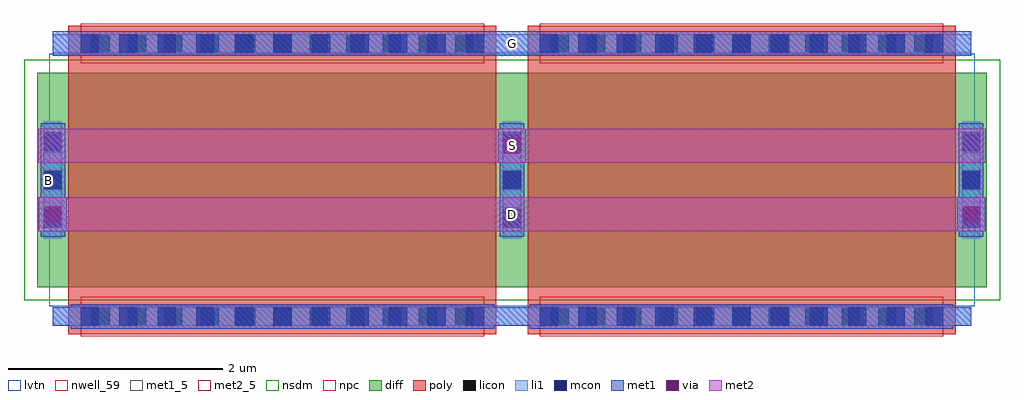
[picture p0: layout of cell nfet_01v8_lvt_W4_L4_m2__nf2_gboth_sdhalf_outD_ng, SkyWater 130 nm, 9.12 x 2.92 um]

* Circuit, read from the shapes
.subckt nfet_01v8_lvt_W4_L4_m2__nf2_gboth_sdhalf_outD_ng B D G S
XM1 S G D B sky130_fd_pr__nfet_01v8_lvt w=2 l=4 m=2
.ends

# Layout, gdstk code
import gdstk
lib = gdstk.Library(unit=1e-6, precision=1e-09)
def R(c, l, rs):  # rectangles x0, y0, x1, y1
    for r in rs: c.add(gdstk.rectangle(r[:2], r[2:], *l))
def A(c, l, x, y, w, h, nx, ny, dx, dy):  # array of equal rectangles
    R(c, l, [(x+i*dx, y+j*dy, x+i*dx+w, y+j*dy+h) for i in range(nx) for j in range(ny)])
nwell_59 = (64, 59)
diff = (65, 20)
poly = (66, 20)
licon = (66, 44)
li1 = (67, 20)
mcon = (67, 44)
met1_5 = (68, 5)
met1 = (68, 20)
via = (68, 44)
met2_5 = (69, 5)
met2 = (69, 20)
nsdm = (93, 44)
npc = (95, 20)
lvtn = (125, 44)

sky130_fd_pr__nfet_01v8_ = lib.new_cell('sky130_fd_pr__nfet_01v8_lvt_A4AKJU')
R(sky130_fd_pr__nfet_01v8_, diff, [(-4.435,-1,4.435,1)])
R(sky130_fd_pr__nfet_01v8_, poly, [(-4.145,-1.44,-0.145,1.44), (0.145,-1.44,4.145,1.44)])
A(sky130_fd_pr__nfet_01v8_, licon, -3.93, -1.36, 0.17, 0.17, 11, 2, 0.34, 2.55)
A(sky130_fd_pr__nfet_01v8_, licon, 0.36, -1.36, 0.17, 0.17, 11, 2, 0.34, 2.55)
A(sky130_fd_pr__nfet_01v8_, licon, -4.375, -0.425, 0.17, 0.17, 3, 3, 4.29, 0.34)
A(sky130_fd_pr__nfet_01v8_, li1, -4.375, -0.55, 0.17, 1.1, 3, 1, 4.29, 0)
R(sky130_fd_pr__nfet_01v8_, li1, [(-4.29,-1.36,4.29,-1.19), (-4.29,1.19,4.29,1.36)])
A(sky130_fd_pr__nfet_01v8_, mcon, -4.03, -1.36, 0.17, 0.17, 11, 2, 0.36, 2.55)
A(sky130_fd_pr__nfet_01v8_, mcon, 0.26, -1.36, 0.17, 0.17, 11, 2, 0.36, 2.55)
A(sky130_fd_pr__nfet_01v8_, mcon, -4.375, -0.445, 0.17, 0.17, 3, 3, 4.29, 0.36)
A(sky130_fd_pr__nfet_01v8_, met1, -4.405, -0.53, 0.23, 1.06, 3, 1, 4.29, 0)
R(sky130_fd_pr__nfet_01v8_, met1, [(-4.125,-1.39,-0.165,-1.36), (0.165,-1.39,4.125,-1.36), (-4.29,-1.36,4.29,-1.19), (-4.125,-1.19,-0.165,-1.16), (0.165,-1.19,4.125,-1.16), (-4.125,1.16,-0.165,1.19), (0.165,1.16,4.125,1.19), (-4.29,1.19,4.29,1.36), (-4.125,1.36,-0.165,1.39), (0.165,1.36,4.125,1.39)])
R(sky130_fd_pr__nfet_01v8_, nsdm, [(-4.56,-1.125,4.56,1.125)])
R(sky130_fd_pr__nfet_01v8_, npc, [(-4.03,-1.46,-0.26,-1.09), (0.26,-1.46,4.03,-1.09), (-4.03,1.09,-0.26,1.46), (0.26,1.09,4.03,1.46)])
R(sky130_fd_pr__nfet_01v8_, lvtn, [(-4.325,-1.18,4.325,1.18)])
sky130_fd_pr__nfet_01v8_.add(gdstk.Label('D0', (-4.29,0), layer=67, texttype=5))
sky130_fd_pr__nfet_01v8_.add(gdstk.Label('G', (2.145,1.275), layer=67, texttype=5))
sky130_fd_pr__nfet_01v8_.add(gdstk.Label('G', (-2.145,1.275), layer=67, texttype=5))
sky130_fd_pr__nfet_01v8_.add(gdstk.Label('S1', (0,0), layer=67, texttype=5))

nfet_01v8_lvt_w4_l4_m2__ = lib.new_cell('nfet_01v8_lvt_W4_L4_m2__nf2_gboth_sdhalf_outD_ng')
R(nfet_01v8_lvt_w4_l4_m2__, nwell_59, [(0.05,1.39,0.15,1.49)])
R(nfet_01v8_lvt_w4_l4_m2__, met1_5, [(0.145,2.6,8.725,2.83)])
R(nfet_01v8_lvt_w4_l4_m2__, met1, [(0.015,0.96,0.275,1.28), (8.595,0.96,8.855,1.28), (4.305,1.6,4.565,1.92), (0.145,2.6,8.725,2.83)])
R(nfet_01v8_lvt_w4_l4_m2__, via, [(0.07,1.045,0.22,1.195), (8.65,1.045,8.8,1.195), (4.36,1.685,4.51,1.835)])
R(nfet_01v8_lvt_w4_l4_m2__, met2_5, [(0.01,0.96,8.86,1.28), (0.01,1.6,8.86,1.92)])
R(nfet_01v8_lvt_w4_l4_m2__, met2, [(0.01,0.96,8.86,1.28), (0.01,1.6,8.86,1.92)])
nfet_01v8_lvt_w4_l4_m2__.add(gdstk.Reference(sky130_fd_pr__nfet_01v8_, (4.435,1.44)))
nfet_01v8_lvt_w4_l4_m2__.add(gdstk.Label('S', (4.435,1.76), layer=69, texttype=5))
nfet_01v8_lvt_w4_l4_m2__.add(gdstk.Label('D', (4.435,1.12), layer=69, texttype=5))
nfet_01v8_lvt_w4_l4_m2__.add(gdstk.Label('G', (4.435,2.715), layer=68, texttype=5))
nfet_01v8_lvt_w4_l4_m2__.add(gdstk.Label('B', (0.1,1.44), layer=64, texttype=59))

lib.write_gds('nfet_01v8_lvt_W4_L4_m2__nf2_gboth_sdhalf_outD_ng.gds')
